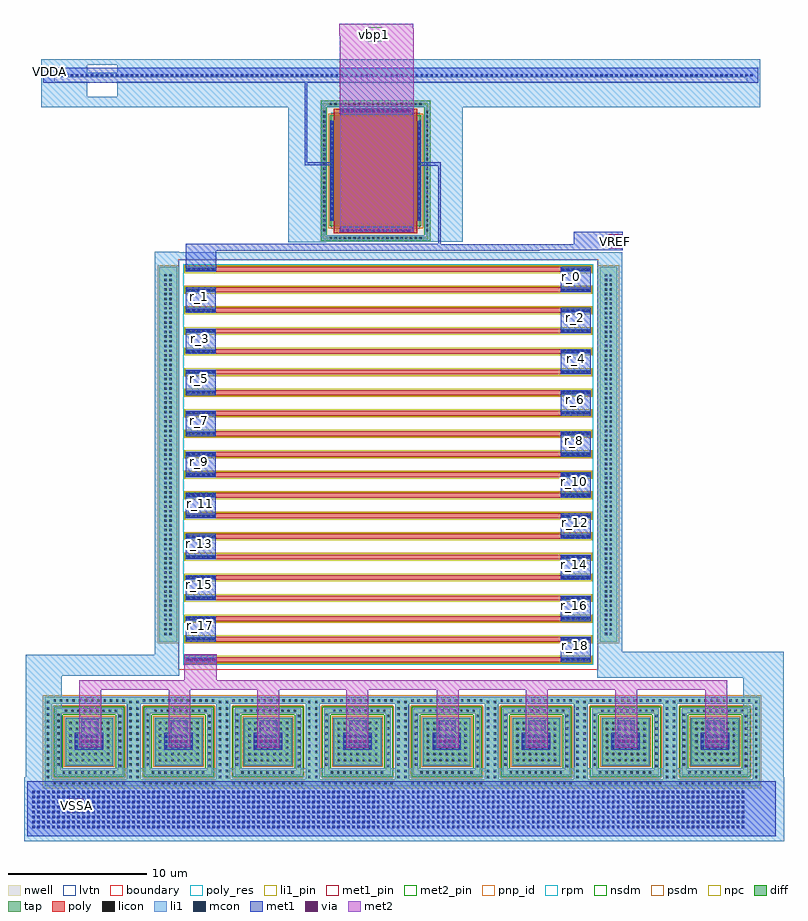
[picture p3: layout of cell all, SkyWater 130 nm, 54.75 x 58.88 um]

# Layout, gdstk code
from math import pi, radians
import gdstk
lib = gdstk.Library(unit=1e-6, precision=1e-09)
def R(c, l, rs):  # rectangles x0, y0, x1, y1
    for r in rs: c.add(gdstk.rectangle(r[:2], r[2:], *l))
def A(c, l, x, y, w, h, nx, ny, dx, dy):  # array of equal rectangles
    R(c, l, [(x+i*dx, y+j*dy, x+i*dx+w, y+j*dy+h) for i in range(nx) for j in range(ny)])
nwell = (64, 20)
diff = (65, 20)
tap = (65, 44)
poly_res = (66, 13)
poly = (66, 20)
licon = (66, 44)
li1_pin = (67, 16)
li1 = (67, 20)
mcon = (67, 44)
met1_pin = (68, 16)
met1 = (68, 20)
via = (68, 44)
met2_pin = (69, 16)
met2 = (69, 20)
pnp_id = (82, 44)
rpm = (86, 20)
nsdm = (93, 44)
psdm = (94, 20)
npc = (95, 20)
lvtn = (125, 44)
boundary = (235, 4)

sky130_fd_pr__rf_pnp_05v = lib.new_cell('sky130_fd_pr__rf_pnp_05v5_W3p40L3p40')
R(sky130_fd_pr__rf_pnp_05v, nwell, [(0.765,0.765,5.935,5.935)])
R(sky130_fd_pr__rf_pnp_05v, diff, [(1.65,1.65,5.05,5.05)])
R(sky130_fd_pr__rf_pnp_05v, tap, [(0.13,0.13,6.57,0.635), (0.13,0.635,0.635,6.065), (6.065,0.635,6.57,6.065), (0.945,0.945,5.755,1.305), (0.945,1.305,1.305,5.395), (5.395,1.305,5.755,5.395), (0.945,5.395,5.755,5.755), (0.13,6.065,6.57,6.57)])
A(sky130_fd_pr__rf_pnp_05v, licon, 0.78, 0.29, 0.17, 0.17, 12, 2, 0.45, 5.935)
A(sky130_fd_pr__rf_pnp_05v, licon, 0.3, 0.71, 0.17, 0.17, 1, 13, 0, 0.45)
A(sky130_fd_pr__rf_pnp_05v, licon, 6.235, 0.71, 0.17, 0.17, 1, 13, 0, 0.45)
A(sky130_fd_pr__rf_pnp_05v, licon, 1.43, 1.04, 0.17, 0.17, 9, 1, 0.45, 0)
A(sky130_fd_pr__rf_pnp_05v, licon, 5.49, 1.51, 0.17, 0.17, 1, 9, 0, 0.45)
A(sky130_fd_pr__rf_pnp_05v, licon, 1.04, 1.605, 0.17, 0.17, 1, 9, 0, 0.45)
A(sky130_fd_pr__rf_pnp_05v, licon, 1.92, 1.92, 0.17, 0.17, 7, 7, 0.45, 0.45)
A(sky130_fd_pr__rf_pnp_05v, licon, 1.6, 5.49, 0.17, 0.17, 9, 1, 0.45, 0)
R(sky130_fd_pr__rf_pnp_05v, li1_pin, [(2.77,3.13,4.01,3.65), (2.95,5.51,3.54,5.71), (3.065,6.26,3.57,6.505)])
R(sky130_fd_pr__rf_pnp_05v, li1, [(0.13,0.13,6.57,0.625), (0.13,0.625,0.625,6.075), (6.075,0.625,6.57,6.075), (0.945,0.945,5.755,1.305), (0.945,1.305,1.305,5.395), (5.395,1.305,5.755,5.395), (1.615,1.615,5.085,5.085), (0.945,5.395,5.755,5.755), (0.13,6.075,6.57,6.57)])
A(sky130_fd_pr__rf_pnp_05v, mcon, 2.365, 2.91, 0.17, 0.17, 6, 3, 0.36, 0.36)
R(sky130_fd_pr__rf_pnp_05v, met1, [(2.32,2.75,4.37,3.98)])
R(sky130_fd_pr__rf_pnp_05v, pnp_id, [(0.13,0.13,6.57,6.57)])
R(sky130_fd_pr__rf_pnp_05v, nsdm, [(0.82,0.82,5.88,1.43), (0.82,1.43,1.43,5.27), (5.27,1.43,5.88,5.27), (0.82,5.27,5.88,5.88)])
R(sky130_fd_pr__rf_pnp_05v, psdm, [(0.005,0.005,6.695,0.76), (0.005,0.76,0.76,5.94), (5.94,0.76,6.695,5.94), (1.525,1.525,5.175,5.175), (0.005,5.94,6.695,6.695)])
sky130_fd_pr__rf_pnp_05v.add(gdstk.Label('Emitter', (3.39,3.39), layer=67, texttype=5))
sky130_fd_pr__rf_pnp_05v.add(gdstk.Label('Collector', (3.317,6.382), layer=67, texttype=5))
sky130_fd_pr__rf_pnp_05v.add(gdstk.Label('Base', (3.245,5.61), layer=67, texttype=5))

sky130_fd_pr__res_high_p = lib.new_cell('sky130_fd_pr__res_high_po_0p35_2EL4HT')
R(sky130_fd_pr__res_high_p, poly_res, [(-0.175,-12.5,0.175,12.5)])
R(sky130_fd_pr__res_high_p, poly, [(-0.175,-14.58,0.175,14.58)])
R(sky130_fd_pr__res_high_p, licon, [(-0.095,-14.5,0.095,-12.5), (-0.095,12.5,0.095,14.5)])
R(sky130_fd_pr__res_high_p, li1, [(-0.175,-14.58,0.175,-12.42), (-0.175,12.42,0.175,14.58)])
A(sky130_fd_pr__res_high_p, mcon, -0.085, -14.485, 0.17, 0.17, 1, 6, 0, 0.36)
A(sky130_fd_pr__res_high_p, mcon, -0.085, 12.51, 0.17, 0.17, 1, 6, 0, 0.36)
R(sky130_fd_pr__res_high_p, met1, [(-0.125,-14.55,0.125,-12.445), (-0.125,12.445,0.125,14.55)])
R(sky130_fd_pr__res_high_p, rpm, [(-0.375,-14.78,0.375,14.78)])
R(sky130_fd_pr__res_high_p, psdm, [(-0.285,-14.69,0.285,14.69)])
R(sky130_fd_pr__res_high_p, npc, [(-0.27,-14.675,0.27,14.675)])
R(sky130_fd_pr__res_high_p, boundary, [(-0.74,-15.145,0.74,15.145)])
sky130_fd_pr__res_high_p.add(gdstk.Label('R1', (0,14.405), layer=67, texttype=5))
sky130_fd_pr__res_high_p.add(gdstk.Label('R2', (0,-14.405), layer=67, texttype=5))

sky130_fd_pr__pfet_01v8_ = lib.new_cell('sky130_fd_pr__pfet_01v8_lvt_KLHPYA')
R(sky130_fd_pr__pfet_01v8_, nwell, [(-3.98,-5.095,3.98,5.095)])
R(sky130_fd_pr__pfet_01v8_, diff, [(-3.29,-4,3.29,4)])
R(sky130_fd_pr__pfet_01v8_, tap, [(-3.8,-4.915,3.8,-4.745), (-3.8,-4.745,-3.63,4.745), (3.63,-4.745,3.8,4.745), (-3.8,4.745,3.8,4.915)])
R(sky130_fd_pr__pfet_01v8_, poly, [(-3,-4.485,3,4.485)])
A(sky130_fd_pr__pfet_01v8_, licon, -3.315, -4.915, 0.17, 0.17, 20, 2, 0.34, 9.66)
A(sky130_fd_pr__pfet_01v8_, licon, -2.465, -4.405, 0.17, 0.17, 15, 2, 0.34, 8.64)
A(sky130_fd_pr__pfet_01v8_, licon, -3.8, -4.335, 0.17, 0.17, 1, 26, 0, 0.34)
A(sky130_fd_pr__pfet_01v8_, licon, 3.63, -4.335, 0.17, 0.17, 1, 26, 0, 0.34)
A(sky130_fd_pr__pfet_01v8_, licon, -3.23, -3.485, 0.17, 0.17, 1, 21, 0, 0.34)
A(sky130_fd_pr__pfet_01v8_, licon, 3.06, -3.485, 0.17, 0.17, 1, 21, 0, 0.34)
R(sky130_fd_pr__pfet_01v8_, li1, [(-3.8,-4.915,3.8,-4.745), (-3.8,-4.745,-3.63,4.745), (3.63,-4.745,3.8,4.745), (-2.555,-4.405,2.545,-4.235), (3.06,-3.605,3.23,3.61), (-3.23,-3.595,-3.06,3.625), (-2.555,4.235,2.55,4.405), (-2.555,4.405,-2.245,4.41), (-3.8,4.745,3.8,4.915)])
A(sky130_fd_pr__pfet_01v8_, mcon, -2.425, -4.405, 0.17, 0.17, 14, 2, 0.36, 8.64)
A(sky130_fd_pr__pfet_01v8_, mcon, -3.23, -3.505, 0.17, 0.17, 1, 20, 0, 0.36)
A(sky130_fd_pr__pfet_01v8_, mcon, 3.06, -3.505, 0.17, 0.17, 1, 20, 0, 0.36)
R(sky130_fd_pr__pfet_01v8_, met1, [(-2.555,-4.435,2.545,-4.205), (3.03,-3.605,3.26,3.61), (-3.26,-3.595,-3.03,3.625), (-2.555,4.205,2.55,4.435)])
R(sky130_fd_pr__pfet_01v8_, nsdm, [(-3.925,-5.04,3.925,-4.62), (-3.925,-4.62,-3.505,4.62), (3.505,-4.62,3.925,4.62), (-3.925,4.62,3.925,5.04)])
R(sky130_fd_pr__pfet_01v8_, psdm, [(-3.415,-4.125,3.415,4.125)])
R(sky130_fd_pr__pfet_01v8_, npc, [(-2.565,-4.505,2.565,-4.135), (-2.565,4.135,2.565,4.505)])
R(sky130_fd_pr__pfet_01v8_, lvtn, [(-3.18,-4.18,3.18,4.18)])
R(sky130_fd_pr__pfet_01v8_, boundary, [(-3.715,-4.83,3.715,4.83)])
sky130_fd_pr__pfet_01v8_.add(gdstk.Label('B', (0,-4.83), layer=67, texttype=5))
sky130_fd_pr__pfet_01v8_.add(gdstk.Label('D', (-3.145,0), layer=67, texttype=5))
sky130_fd_pr__pfet_01v8_.add(gdstk.Label('S', (3.145,0), layer=67, texttype=5))
sky130_fd_pr__pfet_01v8_.add(gdstk.Label('G', (0,4.32), layer=67, texttype=5))

all = lib.new_cell('all')
R(all, tap, [(12.485,18.79,13.77,45.78), (44.21,18.79,45.495,45.78)])
A(all, licon, 12.86, 19.255, 0.17, 0.17, 1, 77, 0, 0.34)
A(all, licon, 13.2, 19.255, 0.17, 0.17, 1, 77, 0, 0.34)
A(all, licon, 44.585, 19.255, 0.17, 0.17, 1, 77, 0, 0.34)
A(all, licon, 44.925, 19.255, 0.17, 0.17, 1, 77, 0, 0.34)
R(all, li1, [(2.74,4.41,57.49,9.03), (2.86,9.03,57.46,9.65), (2.86,9.65,5.45,16.31), (54.54,9.65,57.46,16.18), (44.05,16.18,57.46,16.23), (44.04,16.23,57.46,18.04), (2.86,16.31,13.91,16.34), (2.85,16.34,13.91,17.85), (12.16,17.85,13.91,46.27), (44.04,18.04,45.84,46.27), (12.16,46.27,45.85,46.83), (12.16,46.83,13.91,46.86), (21.79,47.57,24.51,47.58), (21.79,47.58,34.19,47.6), (21.79,47.6,34.33,48.05), (21.79,48.05,24.51,57.27), (31.61,48.05,34.33,57.27), (3.99,57.27,24.51,57.275), (31.61,57.27,55.78,57.275), (3.99,57.275,55.78,58.05), (3.99,58.05,7.3,59.12), (9.44,58.05,55.78,59.12), (3.99,59.12,4.965,59.43), (54.815,59.12,55.78,59.43), (3.99,59.43,55.78,59.75), (3.99,59.75,7.3,60.33), (9.44,59.75,55.78,60.33), (3.99,60.33,55.78,60.74)])
A(all, mcon, 3.34, 5.35, 0.17, 0.17, 143, 8, 0.36, 0.36)
A(all, mcon, 5.03, 59.505, 0.17, 0.17, 140, 1, 0.36, 0)
R(all, met1_pin, [(6,6.51,7,7.51), (44.88,47.14,45.88,48.14)])
A(all, met1, 41.4, 17.31, 2.16, 1.83, 1, 10, 0, 2.96)
A(all, met1, 14.4, 18.79, 2.16, 1.83, 1, 9, 0, 2.96)
R(all, met1, [(2.98,4.76,56.91,8.73), (13.295,11.355,14.535,11.36), (51.945,11.355,53.185,11.36), (6.86,11.36,8.1,12.21), (13.295,11.36,14.54,11.875), (19.74,11.36,20.98,11.365), (26.18,11.36,27.425,11.88), (32.62,11.36,33.86,11.365), (39.06,11.36,40.3,13.11), (45.5,11.36,46.74,13.11), (51.94,11.36,53.185,11.875), (19.735,11.365,20.98,11.885), (32.62,11.365,33.865,11.885), (13.3,11.875,14.54,12.88), (51.94,11.875,53.18,13.11), (26.18,11.88,27.42,13.11), (19.74,11.885,20.98,13.11), (32.62,11.885,33.86,13.11), (6.86,12.21,8.095,12.23), (6.875,12.23,8.095,13.18), (13.3,12.88,14.55,13.11), (14.28,17.11,16.62,17.84), (14.38,45.46,16.58,46.96), (14.38,46.96,39.85,46.97), (14.38,46.97,45.89,47.4), (14.39,47.4,45.89,47.415), (14.39,47.415,32.77,47.45), (42.335,47.415,45.89,48.32), (32.595,47.45,32.77,53.055), (25.53,48.26,30.74,48.675), (24.815,50.58,25.05,50.61), (31.12,50.6,31.33,53.075), (24.81,50.61,25.05,53.095), (32.47,53.055,32.77,53.075), (31.12,53.075,32.77,53.32), (22.975,53.095,25.05,53.315), (22.975,53.315,23.15,59.06), (24.81,53.315,25.05,54.28), (31.12,53.32,31.33,54.23), (25.53,56.755,30.74,57.21), (4.135,59.06,55.65,60.135)])
A(all, via, 13.36, 11.54, 0.15, 0.15, 4, 1, 0.32, 0)
A(all, via, 52.01, 11.54, 0.15, 0.15, 4, 1, 0.32, 0)
A(all, via, 26.25, 11.545, 0.15, 0.15, 4, 1, 0.32, 0)
A(all, via, 39.125, 11.545, 0.15, 0.15, 4, 1, 0.32, 0)
A(all, via, 6.925, 11.55, 0.15, 0.15, 4, 1, 0.32, 0)
A(all, via, 19.8, 11.55, 0.15, 0.15, 4, 1, 0.32, 0)
A(all, via, 32.69, 11.55, 0.15, 0.15, 4, 1, 0.32, 0)
A(all, via, 45.565, 11.55, 0.15, 0.15, 4, 1, 0.32, 0)
A(all, via, 14.43, 17.415, 0.15, 0.15, 7, 1, 0.32, 0)
A(all, via, 25.65, 48.385, 0.15, 0.15, 16, 2, 0.32, 8.545)
R(all, met2_pin, [(27.5,62.05,28.5,63.05)])
R(all, met2, [(25.965,11.135,27.555,15.31), (38.89,11.145,40.48,15.31), (19.555,11.15,21.145,15.31), (32.475,11.155,34.065,15.31), (45.345,11.155,46.935,15.31), (51.805,11.17,53.395,15.31), (6.72,11.18,8.29,15.3), (13.15,11.19,14.72,15.3), (6.72,15.3,16.62,15.31), (6.72,15.31,53.405,16.01), (14.28,16.01,16.62,17.87), (51.805,16.01,53.395,16.02), (25.475,48.275,30.82,56.82), (25.47,56.82,30.82,57.715), (25.47,57.715,30.8,62.45), (25.46,62.45,30.8,62.94), (25.46,62.94,30.79,63.29)])
A(all, rpm, 14.2, 17.86, 29.56, 0.73, 1, 19, 0, 1.48)
R(all, psdm, [(12.36,18.665,13.895,45.905), (44.085,18.665,45.62,45.905)])
r = gdstk.Reference(sky130_fd_pr__rf_pnp_05v, (4.09,8.23)); r.repetition = gdstk.Repetition(8, 1, v1=(6.44,0), v2=(0,0)); all.add(r)
all.add(gdstk.Reference(sky130_fd_pr__res_high_p, (28.98,17.485), rotation=3*pi/2))
all.add(gdstk.Reference(sky130_fd_pr__res_high_p, (28.98,27.845), rotation=3*pi/2))
all.add(gdstk.Reference(sky130_fd_pr__res_high_p, (28.98,26.365), rotation=3*pi/2))
all.add(gdstk.Reference(sky130_fd_pr__res_high_p, (28.98,24.885), rotation=3*pi/2))
all.add(gdstk.Reference(sky130_fd_pr__res_high_p, (28.98,23.405), rotation=3*pi/2))
all.add(gdstk.Reference(sky130_fd_pr__res_high_p, (28.98,21.925), rotation=3*pi/2))
all.add(gdstk.Reference(sky130_fd_pr__res_high_p, (28.98,20.445), rotation=3*pi/2))
all.add(gdstk.Reference(sky130_fd_pr__res_high_p, (28.98,18.965), rotation=3*pi/2))
all.add(gdstk.Reference(sky130_fd_pr__res_high_p, (28.98,38.205), rotation=3*pi/2))
all.add(gdstk.Reference(sky130_fd_pr__res_high_p, (28.98,36.725), rotation=3*pi/2))
all.add(gdstk.Reference(sky130_fd_pr__res_high_p, (28.98,35.245), rotation=3*pi/2))
all.add(gdstk.Reference(sky130_fd_pr__res_high_p, (28.98,33.765), rotation=3*pi/2))
all.add(gdstk.Reference(sky130_fd_pr__res_high_p, (28.98,32.285), rotation=3*pi/2))
all.add(gdstk.Reference(sky130_fd_pr__res_high_p, (28.98,30.805), rotation=3*pi/2))
all.add(gdstk.Reference(sky130_fd_pr__res_high_p, (28.98,29.325), rotation=3*pi/2))
all.add(gdstk.Reference(sky130_fd_pr__pfet_01v8_, (28.07,52.695)))
all.add(gdstk.Reference(sky130_fd_pr__res_high_p, (28.98,45.605), rotation=3*pi/2))
all.add(gdstk.Reference(sky130_fd_pr__res_high_p, (28.98,44.125), rotation=3*pi/2))
all.add(gdstk.Reference(sky130_fd_pr__res_high_p, (28.98,42.645), rotation=3*pi/2))
all.add(gdstk.Reference(sky130_fd_pr__res_high_p, (28.98,41.165), rotation=3*pi/2))
all.add(gdstk.Reference(sky130_fd_pr__res_high_p, (28.98,39.685), rotation=3*pi/2))
all.add(gdstk.Label('r_0', (42.17,45.1), layer=68, texttype=5))
all.add(gdstk.Label('r_1', (15.41,43.65), layer=68, texttype=5))
all.add(gdstk.Label('r_2', (42.5,42.12), layer=68, texttype=5))
all.add(gdstk.Label('r_3', (15.42,40.63), layer=68, texttype=5))
all.add(gdstk.Label('r_4', (42.54,39.15), layer=68, texttype=5))
all.add(gdstk.Label('r_5', (15.41,37.71), layer=68, texttype=5))
all.add(gdstk.Label('r_6', (42.44,36.2), layer=68, texttype=5))
all.add(gdstk.Label('r_7', (15.36,34.7), layer=68, texttype=5))
all.add(gdstk.Label('r_8', (42.42,33.28), layer=68, texttype=5))
all.add(gdstk.Label('r_9', (15.39,31.76), layer=68, texttype=5))
all.add(gdstk.Label('r_10', (42.4,30.3), layer=68, texttype=5))
all.add(gdstk.Label('r_11', (15.47,28.75), layer=68, texttype=5))
all.add(gdstk.Label('r_12', (42.5,27.4), layer=68, texttype=5))
all.add(gdstk.Label('r_13', (15.37,25.82), layer=68, texttype=5))
all.add(gdstk.Label('r_14', (42.4,24.35), layer=68, texttype=5))
all.add(gdstk.Label('r_15', (15.35,22.88), layer=68, texttype=5))
all.add(gdstk.Label('r_16', (42.39,21.4), layer=68, texttype=5))
all.add(gdstk.Label('r_17', (15.47,19.96), layer=68, texttype=5))
all.add(gdstk.Label('r_18', (42.46,18.52), layer=68, texttype=5))
all.add(gdstk.Label('VSSA', (6.5,7.01), layer=68, texttype=5))
all.add(gdstk.Label('VREF', (45.38,47.64), layer=68, texttype=5))
all.add(gdstk.Label('VDDA', (4.59,59.83), layer=68, texttype=5))
all.add(gdstk.Label('vbp1', (28,62.55), layer=69, texttype=5))

lib.write_gds('all.gds')
